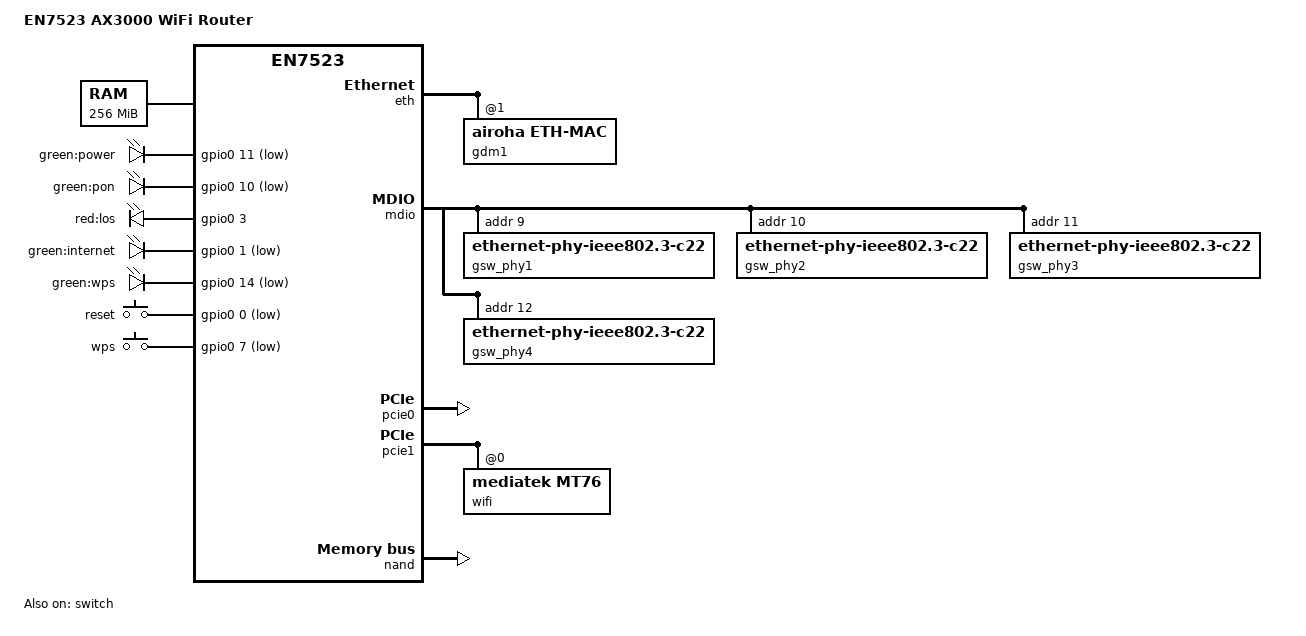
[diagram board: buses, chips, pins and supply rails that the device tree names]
// SPDX-License-Identifier: GPL-2.0-only OR BSD-2-Clause
/dts-v1/;

/*
 * Device Tree for an EN7523-based AX3000 WiFi router with MT7916 dual-band WiFi.
 * Supports both initramfs (TFTP) boot and persistent NAND sysupgrade.
 */
/memreserve/ 0x80000000 0x200000;

#include <dt-bindings/gpio/gpio.h>
#include <dt-bindings/input/input.h>
#include <dt-bindings/reset/airoha,en7523-reset.h>
#include "en7523.dtsi"

/ {
	model = "EN7523 AX3000 WiFi Router";
	compatible = "airoha,en7523-ax3000-router", "airoha,en7523";

	aliases {
		serial0 = &uart1;
	};

	chosen {
		bootargs = "console=ttyS0,115200 earlycon";
		stdout-path = "serial0:115200n8";
		linux,usable-memory-range = <0x80200000 0x0fe00000>;
	};

	memory@80000000 {
		device_type = "memory";
		reg = <0x80000000 0x10000000>;
	};

	reserved-memory {
		qdma0_buf: qdma0-buf@87000000 {
			no-map;
			reg = <0x87000000 0x02000000>;
		};

		qdma1_buf: qdma1-buf@89000000 {
			no-map;
			reg = <0x89000000 0x01000000>;
		};
	};

	npu: npu@1e800000 {
		compatible = "econet,ecnt-npu";
		reg = <0x1e800000 0x60000>, <0x1e900000 0x313000>;
		memory-region = <&npu_binary>;
		clocks = <&scu EN7523_CLK_NPU>;
		clock-names = "npu";
		resets = <&scu EN7523_NPU_RST>;
		reset-names = "npu";
		interrupts = <0x00 0x76 0x04>, <0x00 0x77 0x04>,
			     <0x00 0x78 0x04>, <0x00 0x79 0x04>,
			     <0x00 0x7a 0x04>, <0x00 0x7b 0x04>,
			     <0x00 0x7d 0x04>;
	};

	/*
	 * SoC GPIO LEDs verified on hardware:
	 * Power=GPIO11 (active-low), PON=GPIO10 (active-low),
	 * LOS=GPIO3 (active-HIGH!), Internet=GPIO1 (active-low).
	 *
	 * LAN LEDs (GPIO22-25) are NOT SoC GPIOs — they are PHY LED outputs
	 * from the MT7530 switch, controlled directly by the switch hardware
	 * in PHY LED mode (SCU 0x0210 bits 3-10 set by bootloader to 0x2a8).
	 * The pinctrl hwinit does NOT clear SCU 0x0210 so the switch keeps
	 * driving them automatically (link/activity). No DTS LED node needed.
	 * The MT7530 LED controller must be enabled in the switch driver setup
	 * (see patch 930-44). DSA port mapping: eth1=p1=LAN4, eth2=p2=LAN3,
	 * eth3=p3=LAN2, eth4=p4=LAN1
	 *
	 * WiFi 2.4G=GPIO4, WiFi 5G=GPIO5. These were in SPI flash mode
	 * (SCU 0x034 bits 4,5) but the pinctrl hwinit now clears those bits
	 * to free them as GPIO outputs. The SPI NAND uses a dedicated SNFI
	 * controller, not these pins. WiFi LED netdev triggers (link+rx on
	 * phy0-ap0/phy1-ap0) are configured by the board script (01_leds)
	 * and applied by the hotplug script after the WiFi PHY comes up.
	 * WPS=GPIO14 is registered for the WPS LED. If it conflicts with
	 * SPI quad mode, the GPIO request will fail safely (LED won't light
	 * but NAND access is unaffected).
	 */
	leds {
		compatible = "gpio-leds";

		led-power {
			label = "green:power";
			gpios = <&gpio0 11 GPIO_ACTIVE_LOW>;
			default-state = "on";
		};

		led-pon {
			label = "green:pon";
			gpios = <&gpio0 10 GPIO_ACTIVE_LOW>;
		};

		led-los {
			label = "red:los";
			gpios = <&gpio0 3 GPIO_ACTIVE_HIGH>;
			default-state = "off";
		};

		led-internet {
			label = "green:internet";
			gpios = <&gpio0 1 GPIO_ACTIVE_LOW>;
		};

		led-wps {
			label = "green:wps";
			gpios = <&gpio0 14 GPIO_ACTIVE_LOW>;
		};
	};

	keys {
		compatible = "gpio-keys-polled";
		poll-interval = <100>;

		key-reset {
			label = "reset";
			gpios = <&gpio0 0 GPIO_ACTIVE_LOW>;
			linux,code = <KEY_RESTART>;
			debounce-interval = <60>;
		};

		key-wps {
			label = "wps";
			gpios = <&gpio0 7 GPIO_ACTIVE_LOW>;
			linux,code = <KEY_WPS_BUTTON>;
			debounce-interval = <60>;
		};
	};

	/*
	 * Ethernet and switch nodes. Initially disabled here; enabled via
	 * status="okay" references at the bottom of this file.
	 */
	eth: ethernet@1fb50000 {
		compatible = "airoha,en7523-eth";
		status = "disabled";

		reg = <0x1fb50000 0x2600>,
		      <0x1fb54000 0x2000>,
		      <0x1fb56000 0x2000>,
		      <0x1fbf9000 0x1000>;
		reg-names = "fe", "qdma0", "qdma1", "gdmp";

		resets = <&scu EN7523_FE_RST>,
			 <&scu EN7523_FE_PDMA_RST>,
			 <&scu EN7523_FE_QDMA_RST>,
			 <&scu EN7523_DUAL_HSI0_MAC_RST>,
			 <&scu EN7523_DUAL_HSI1_MAC_RST>,
			 <&scu EN7523_HSI_MAC_RST>,
			 <&scu EN7523_GDMP_RST>;
		reset-names = "fe", "pdma", "qdma",
			      "hsi0-mac", "hsi1-mac", "hsi-mac", "gdmp";

		interrupts = <GIC_SPI 37 IRQ_TYPE_LEVEL_HIGH>,
			     <GIC_SPI 55 IRQ_TYPE_LEVEL_HIGH>,
			     <GIC_SPI 56 IRQ_TYPE_LEVEL_HIGH>,
			     <GIC_SPI 57 IRQ_TYPE_LEVEL_HIGH>,
			     <GIC_SPI 38 IRQ_TYPE_LEVEL_HIGH>,
			     <GIC_SPI 58 IRQ_TYPE_LEVEL_HIGH>,
			     <GIC_SPI 59 IRQ_TYPE_LEVEL_HIGH>,
			     <GIC_SPI 60 IRQ_TYPE_LEVEL_HIGH>,
			     <GIC_SPI 49 IRQ_TYPE_LEVEL_HIGH>,
			     <GIC_SPI 64 IRQ_TYPE_LEVEL_HIGH>;

		memory-region = <&qdma0_buf>, <&qdma1_buf>;
		memory-region-names = "qdma0-buf", "qdma1-buf";

		#address-cells = <1>;
		#size-cells = <0>;

		gdm1: ethernet@1 {
			compatible = "airoha,eth-mac";
			reg = <1>;
			phy-mode = "internal";
			status = "disabled";

			fixed-link {
				speed = <10000>;
				full-duplex;
				pause;
			};
		};
	};

	switch: switch@1fb58000 {
		compatible = "airoha,en7523-switch";
		reg = <0x1fb58000 0x8000>;
		resets = <&scu EN7523_GSW_RST>;
		interrupt-controller;
		#interrupt-cells = <1>;
		interrupt-parent = <&gic>;
		interrupts = <GIC_SPI 31 IRQ_TYPE_LEVEL_HIGH>;
		status = "disabled";

		#address-cells = <1>;
		#size-cells = <1>;

		ports {
			#address-cells = <1>;
			#size-cells = <0>;

			gsw_port1: port@1 {
				reg = <1>;
				phy-mode = "internal";
				phy-handle = <&gsw_phy1>;
				status = "disabled";
			};

			gsw_port2: port@2 {
				reg = <2>;
				phy-mode = "internal";
				phy-handle = <&gsw_phy2>;
				status = "disabled";
			};

			gsw_port3: port@3 {
				reg = <3>;
				phy-mode = "internal";
				phy-handle = <&gsw_phy3>;
				status = "disabled";
			};

			gsw_port4: port@4 {
				reg = <4>;
				phy-mode = "internal";
				phy-handle = <&gsw_phy4>;
				status = "disabled";
			};

			port@6 {
				reg = <6>;
				ethernet = <&gdm1>;
				phy-mode = "internal";

				fixed-link {
					speed = <10000>;
					full-duplex;
					pause;
				};
			};
		};

		mdio: mdio {
			#address-cells = <1>;
			#size-cells = <0>;

			gsw_phy1: ethernet-phy@9 {
				compatible = "ethernet-phy-ieee802.3-c22";
				reg = <9>;
			};

			gsw_phy2: ethernet-phy@a {
				compatible = "ethernet-phy-ieee802.3-c22";
				reg = <10>;
			};

			gsw_phy3: ethernet-phy@b {
				compatible = "ethernet-phy-ieee802.3-c22";
				reg = <11>;
			};

			gsw_phy4: ethernet-phy@c {
				compatible = "ethernet-phy-ieee802.3-c22";
				reg = <12>;
			};
		};
	};
};

&gpio0 {
	status = "okay";
};

&gpio1 {
	status = "okay";
};

&pcie0 {
	status = "okay";
};

&pcie1 {
	status = "okay";

	pcie@1,0 {
		reg = <0x0800 0 0 0 0>;
		#address-cells = <3>;
		#size-cells = <2>;

		wifi: wifi@0,0 {
			compatible = "mediatek,mt76";
			reg = <0x0000 0 0 0 0>;

			airoha,npu = <&npu>;
			airoha,eth = <&eth>;

			nvmem-cells = <&mt7916_eeprom_factory>;
			nvmem-cell-names = "eeprom";

			led {
				led-sources = <2>;
				led-active-low;
			};
		};
	};
};

&nand {
	status = "okay";

	partitions {
		compatible = "fixed-partitions";
		#address-cells = <1>;
		#size-cells = <1>;

		partition@0 {
			label = "bootloader";
			reg = <0x00000000 0x00080000>;
			read-only;
		};

		partition@80000 {
			label = "romfile";
			reg = <0x00080000 0x00040000>;
			read-only;
		};

		/* OpenWrt firmware: merged vendor tclinux (5MB) + ubifs (45MB) = 50MB.
		 * U-Boot boots the FIT kernel from offset 0xc0000; the squashfs rootfs
		 * follows immediately after the kernel in the same partition.
		 */
		partition@c0000 {
			label = "firmware";
			reg = <0x000c0000 0x03200000>;
		};

		partition@32c0000 {
			label = "tclinux_slave";
			reg = <0x032c0000 0x00500000>;
			read-only;
		};

		partition@37c0000 {
			label = "ubifs_slave";
			reg = <0x037c0000 0x02d00000>;
			read-only;
		};

		partition@64c0000 {
			label = "ptconf";
			reg = <0x064c0000 0x00600000>;
			read-only;
		};

		partition@6ac0000 {
			label = "ptdata";
			reg = <0x06ac0000 0x00400000>;
			read-only;
		};

		partition@6ec0000 {
			label = "config";
			reg = <0x06ec0000 0x00100000>;
		};

		partition@6fc0000 {
			label = "reservearea";
			reg = <0x06fc0000 0x00240000>;
			read-only;

			nvmem-layout {
				compatible = "fixed-layout";
				#address-cells = <1>;
				#size-cells = <1>;

				mt7916_eeprom_factory: eeprom@4c000 {
					reg = <0x4c000 0x1000>;
				};
			};
		};
	};
};

&eth {
	status = "okay";
};

&gdm1 {
	status = "okay";
};

&switch {
	status = "okay";
};

&gsw_port1 {
	status = "okay";
};

&gsw_port2 {
	status = "okay";
};

&gsw_port3 {
	status = "okay";
};

&gsw_port4 {
	status = "okay";
};
